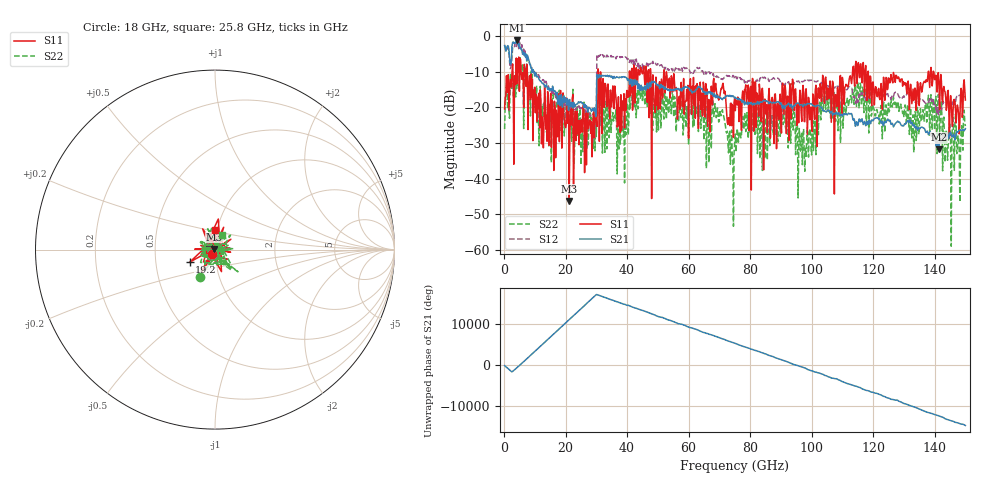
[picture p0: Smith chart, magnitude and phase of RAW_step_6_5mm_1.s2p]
!  2-Port S-parameters saved by WinCal
! VAR MeasName=S-Parameters (CALIBRATED_DATA) read from VNA (MS4647B)
! VAR MeasDate=27-Apr-22 17:08:37
! VAR NAME=RAW_stepline_6.5mm_1
! VAR FILENAME=RAW_stepline_6.5mm_1.S2P
! VAR DATE=27-Apr-22 17:08:37
! VAR PHYS_PORTS=1,2
! VAR ObjTypeName=DATASET
! VAR IndexType=Frequency
! VAR ChuckHeaterState=Unknown
! VAR ChuckTemp=NaN
! VAR ChuckTempUnits=Unknown
# Hz S RI R 50
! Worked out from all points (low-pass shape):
!   750 points, 200 MHz to 150 GHz, reference 50 ohm
!   highest |S21| = -1.30 dB at 4.2 GHz (marker M1); lowest = -31.8 dB at 141.4 GHz (marker M2)
!   |S21| within 3 dB of the highest: 601.7 MHz to 1.64 GHz (1.038 GHz wide, 92.6 % of centre); 2.533 GHz to 5.877 GHz (3.344 GHz wide, 79.5 % of centre)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
!   lowest |S11| = -46.3 dB at 21.2 GHz (marker M3), VSWR 1.01, Z = 49.6 + j0.289 ohm
!   |S11| at or under -10 dB: 7.489 GHz to 30.58 GHz (23.09 GHz wide, 121 % of centre); 52.03 GHz to 113.3 GHz (61.29 GHz wide, 74.1 % of centre); 118.4 GHz to 138 GHz (19.58 GHz wide, 15.3 % of centre)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
!   |S22| runs from -58.9 to -6.1 dB; largest |S21 - S12| = 1.7
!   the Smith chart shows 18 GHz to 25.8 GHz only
!   S11 on the Smith chart (normalised r, x): 18 GHz: 0.96, -0.05; 19.2 GHz: 0.74, -0.11; 25.8 GHz: 0.98, +0.21
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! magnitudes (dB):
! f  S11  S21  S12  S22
! 200 MHz  -20.4  -2.7  -2.6  -26.1
! 4.2 GHz  -13.4  -1.3  -1.8  -14.7
! 12.2 GHz  -30.3  -12.9  -12.1  -23.6
! 18 GHz  -29.7  -16.6  -17.7  -15.2
! 19.2 GHz  -16.0  -18.2  -19.5  -17.7
! 21.2 GHz  -46.3  -18.0  -19.1  -21.0
! 25.2 GHz  -23.4  -18.7  -20.4  -26.6
! 25.8 GHz  -19.4  -19.3  -21.1  -20.9
! 29.4 GHz  -28.6  -20.2  -21.8  -27.3
! 30.8 GHz  -10.7  -11.8  -5.5  -17.3
! 37.4 GHz  -25.2  -11.8  -6.0  -31.7
! 44.2 GHz  -10.8  -15.3  -8.3  -16.1
! 50.2 GHz  -15.3  -13.6  -8.2  -26.4
! 68.2 GHz  -11.9  -17.0  -11.3  -22.6
! 75.2 GHz  -21.0  -17.2  -11.5  -27.5
! 81.6 GHz  -12.9  -19.0  -13.0  -27.6
! 100.2 GHz  -26.8  -19.3  -12.6  -26.1
! 104.6 GHz  -11.6  -21.2  -13.8  -20.6
! 125.2 GHz  -11.9  -23.8  -17.0  -21.3
! 141.4 GHz  -13.2  -31.8  -22.1  -18.5
! 144.8 GHz  -28.7  -28.0  -19.0  -24.6
! 150 GHz  -18.0  -26.0  -16.8  -25.3
